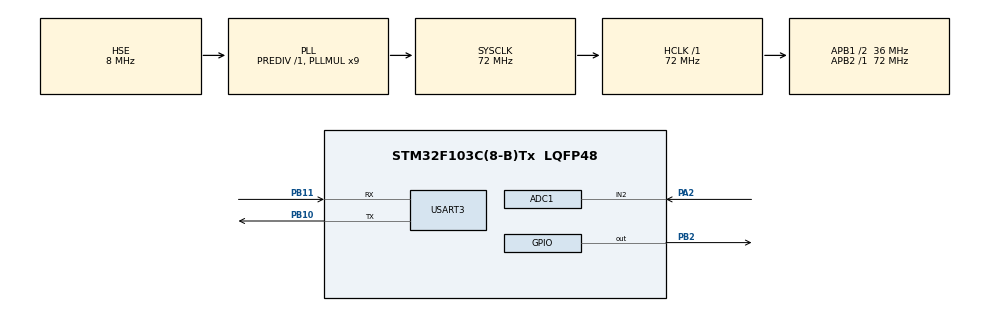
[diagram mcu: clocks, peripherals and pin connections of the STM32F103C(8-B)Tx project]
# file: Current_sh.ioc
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ADC1.Channel-0\#ChannelRegularConversion=ADC_CHANNEL_2
ADC1.ContinuousConvMode=ENABLE
ADC1.NbrOfConversionFlag=1
ADC1.Rank-0\#ChannelRegularConversion=1
ADC1.SamplingTime-0\#ChannelRegularConversion=ADC_SAMPLETIME_239CYCLES_5
ADC1.master=1
Dma.ADC1.0.Direction=DMA_PERIPH_TO_MEMORY
Dma.ADC1.0.Instance=DMA1_Channel1
Dma.ADC1.0.MemDataAlignment=DMA_MDATAALIGN_HALFWORD
Dma.ADC1.0.MemInc=DMA_MINC_ENABLE
Dma.ADC1.0.Mode=DMA_CIRCULAR
Dma.ADC1.0.PeriphDataAlignment=DMA_PDATAALIGN_HALFWORD
Dma.ADC1.0.PeriphInc=DMA_PINC_DISABLE
Dma.ADC1.0.Priority=DMA_PRIORITY_LOW
Dma.Request0=ADC1
Mcu.Family=STM32F1
Mcu.Name=STM32F103C(8-B)Tx
Mcu.Package=LQFP48
NVIC.PriorityGroup=NVIC_PRIORITYGROUP_4
NVIC.TIM1_UP_IRQn=true\:0\:0\:false\:false\:true\:true\:true\:true
NVIC.TIM2_IRQn=true\:0\:0\:false\:false\:true\:true\:true\:true
NVIC.TIM3_IRQn=true\:0\:0\:false\:false\:true\:true\:true\:true
NVIC.TIM4_IRQn=true\:0\:0\:false\:false\:true\:true\:true\:true
NVIC.USART3_IRQn=true\:0\:0\:false\:false\:true\:true\:true\:true
PA13.Mode=Serial_Wire
PA13.Signal=SYS_JTMS-SWDIO
PA14.Mode=Serial_Wire
PA14.Signal=SYS_JTCK-SWCLK
PA2.Signal=ADCx_IN2
PB10.Mode=Asynchronous
PB10.Signal=USART3_TX
PB11.Mode=Asynchronous
PB11.Signal=USART3_RX
PB2.Signal=GPIO_Output
PD0-OSC_IN.Mode=HSE-External-Oscillator
PD0-OSC_IN.Signal=RCC_OSC_IN
PD1-OSC_OUT.Mode=HSE-External-Oscillator
PD1-OSC_OUT.Signal=RCC_OSC_OUT
ProjectManager.HeapSize=0x200
ProjectManager.StackSize=0x400
ProjectManager.TargetToolchain=MDK-ARM V5.32
RCC.ADCPresc=RCC_ADCPCLK2_DIV6
RCC.AHBFreq_Value=72000000
RCC.APB1CLKDivider=RCC_HCLK_DIV2
RCC.APB1Freq_Value=36000000
RCC.APB1TimFreq_Value=72000000
RCC.APB2Freq_Value=72000000
RCC.APB2TimFreq_Value=72000000
RCC.HCLKFreq_Value=72000000
RCC.PLLMUL=RCC_PLL_MUL9
RCC.PLLSourceVirtual=RCC_PLLSOURCE_HSE
RCC.SYSCLKFreq_VALUE=72000000
RCC.SYSCLKSource=RCC_SYSCLKSOURCE_PLLCLK
RCC.USBFreq_Value=72000000
SH.ADCx_IN2.0=ADC1_IN2,IN2
USART3.VirtualMode=VM_ASYNC
VP_TIM1_VS_ClockSourceINT.Mode=Internal
VP_TIM2_VS_ClockSourceINT.Mode=Internal
VP_TIM3_VS_ClockSourceINT.Mode=Internal
VP_TIM4_VS_ClockSourceINT.Mode=Internal
board=custom

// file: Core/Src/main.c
/* USER CODE BEGIN Header */
/**
  ******************************************************************************
  * @file           : main.c
  * @brief          : Main program body
  ******************************************************************************
  * @attention
  *
  * Copyright (c) 2023 STMicroelectronics.
  * All rights reserved.
  *
  * This software is licensed under terms that can be found in the LICENSE file
  * in the root directory of this software component.
  * If no LICENSE file comes with this software, it is provided AS-IS.
  *
  ******************************************************************************
  */
/* USER CODE END Header */
#include "main.h"

ADC_HandleTypeDef hadc1;
DMA_HandleTypeDef hdma_adc1;

TIM_HandleTypeDef htim1;
TIM_HandleTypeDef htim2;
TIM_HandleTypeDef htim3;
TIM_HandleTypeDef htim4;

UART_HandleTypeDef huart3;

/* USER CODE BEGIN PV */
uint16_t adc, value, bank[30];

mb ch485;

//EEprom------------------

uint16_t VirtAddVarTab[NB_OF_VAR];
uint16_t  VarDataTab[NB_OF_VAR];
uint16_t VarValue = 0;
//-------------------------

/* USER CODE END PV */

void SystemClock_Config(void);
static void MX_GPIO_Init(void);
static void MX_DMA_Init(void);
static void MX_ADC1_Init(void);
static void MX_USART3_UART_Init(void);
static void MX_TIM1_Init(void);
static void MX_TIM2_Init(void);
static void MX_TIM3_Init(void);
static void MX_TIM4_Init(void);

int main(void)
{

  /* MCU Configuration--------------------------------------------------------*/

  /* Reset of all peripherals, Initializes the Flash interface and the Systick. */
  HAL_Init();

  /* Configure the system clock */
  SystemClock_Config();

  /* Initialize all configured peripherals */
  MX_GPIO_Init();
  MX_DMA_Init();
  MX_ADC1_Init();
  MX_USART3_UART_Init();
  MX_TIM1_Init();
  MX_TIM2_Init();
  MX_TIM3_Init();
  MX_TIM4_Init();
  /* USER CODE BEGIN 2 */

  HAL_FLASH_Unlock();

  /* EEPROM Init */
  EE_Init();

/* --- Store successively many values of the three variables in the EEPROM ---*/
  /* Store 0x1000 values of Variable1 in EEPROM */

EE_ReadVariable(1, &Rz);
EE_ReadVariable(2, &F);
EE_ReadVariable(3, &M);
EE_ReadVariable(4, &K);
EE_ReadVariable(5, &Kf);
EE_ReadVariable(6, &C);
EE_ReadVariable(7, &Adr);
EE_ReadVariable(8, &dV);
	HAL_FLASH_Lock();

/*
F=4; //[kHz] ADC freq
M=0; //Offset (middle line)
K=1000; //Measure factor K
Kf=4; //Filter factor
C=4; //[kHz] ADC freq
Adr=1; //Adress 485
*/

//-----------------Calibration-----------------
	//---------------------ADC-----------------

  ADC1->CR2|=8;

  HAL_Delay (1000);
  ADC1->CR2&=~8;
  ADC1->CR2|=4;

  HAL_Delay (1000);
	//-----------------OFF-Calibration-----------------
	//-----------------------ADC-----------------

	HAL_ADC_Start_DMA(&hadc1, (uint32_t*)&adc, 1);

if (F>1)	TIM2->ARR=72000/F;
else TIM2->ARR=65535;

	HAL_TIM_Base_Start_IT(&htim2);

mb_init(&ch485, Adr, 9000, 0);

  /* USER CODE END 2 */

  /* Infinite loop */
  /* USER CODE BEGIN WHILE */
  while (1)
  {
		if (Set>0)
		{
			HAL_FLASH_Unlock();

EE_WriteVariable	(1, Rz);
EE_WriteVariable	(2, F);
EE_WriteVariable	(3, M);
EE_WriteVariable	(4, K);
EE_WriteVariable	(5, Kf);
EE_WriteVariable	(6, C);
EE_WriteVariable	(7, Adr);
EE_WriteVariable	(8, dV);

	TIM2->ARR=72000/F;
  ch485.adress=Adr;
			Set=0;
	HAL_FLASH_Lock();

		}
    /* USER CODE END WHILE */

  }
}

void SystemClock_Config(void)
{
  RCC_OscInitTypeDef RCC_OscInitStruct = {0};
  RCC_ClkInitTypeDef RCC_ClkInitStruct = {0};
  RCC_PeriphCLKInitTypeDef PeriphClkInit = {0};

  /** Initializes the RCC Oscillators according to the specified parameters
  * in the RCC_OscInitTypeDef structure.
  */
  RCC_OscInitStruct.OscillatorType = RCC_OSCILLATORTYPE_HSE;
  RCC_OscInitStruct.HSEState = RCC_HSE_ON;
  RCC_OscInitStruct.HSEPredivValue = RCC_HSE_PREDIV_DIV1;
  RCC_OscInitStruct.HSIState = RCC_HSI_ON;
  RCC_OscInitStruct.PLL.PLLState = RCC_PLL_ON;
  RCC_OscInitStruct.PLL.PLLSource = RCC_PLLSOURCE_HSE;
  RCC_OscInitStruct.PLL.PLLMUL = RCC_PLL_MUL9;
  if (HAL_RCC_OscConfig(&RCC_OscInitStruct) != HAL_OK)
  {
    Error_Handler();
  }

  /** Initializes the CPU, AHB and APB buses clocks
  */
  RCC_ClkInitStruct.ClockType = RCC_CLOCKTYPE_HCLK|RCC_CLOCKTYPE_SYSCLK
                              |RCC_CLOCKTYPE_PCLK1|RCC_CLOCKTYPE_PCLK2;
  RCC_ClkInitStruct.SYSCLKSource = RCC_SYSCLKSOURCE_PLLCLK;
  RCC_ClkInitStruct.AHBCLKDivider = RCC_SYSCLK_DIV1;
  RCC_ClkInitStruct.APB1CLKDivider = RCC_HCLK_DIV2;
  RCC_ClkInitStruct.APB2CLKDivider = RCC_HCLK_DIV1;

  if (HAL_RCC_ClockConfig(&RCC_ClkInitStruct, FLASH_LATENCY_2) != HAL_OK)
  {
    Error_Handler();
  }
  PeriphClkInit.PeriphClockSelection = RCC_PERIPHCLK_ADC;
  PeriphClkInit.AdcClockSelection = RCC_ADCPCLK2_DIV6;
  if (HAL_RCCEx_PeriphCLKConfig(&PeriphClkInit) != HAL_OK)
  {
    Error_Handler();
  }
}

static void MX_ADC1_Init(void)
{

  ADC_ChannelConfTypeDef sConfig = {0};

  /** Common config
  */
  hadc1.Instance = ADC1;
  hadc1.Init.ScanConvMode = ADC_SCAN_DISABLE;
  hadc1.Init.ContinuousConvMode = ENABLE;
  hadc1.Init.DiscontinuousConvMode = DISABLE;
  hadc1.Init.ExternalTrigConv = ADC_SOFTWARE_START;
  hadc1.Init.DataAlign = ADC_DATAALIGN_RIGHT;
  hadc1.Init.NbrOfConversion = 1;
  if (HAL_ADC_Init(&hadc1) != HAL_OK)
  {
    Error_Handler();
  }

  /** Configure Regular Channel
  */
  sConfig.Channel = ADC_CHANNEL_2;
  sConfig.Rank = ADC_REGULAR_RANK_1;
  sConfig.SamplingTime = ADC_SAMPLETIME_239CYCLES_5;
  if (HAL_ADC_ConfigChannel(&hadc1, &sConfig) != HAL_OK)
  {
    Error_Handler();
  }

}

static void MX_TIM1_Init(void)
{

  TIM_ClockConfigTypeDef sClockSourceConfig = {0};
  TIM_MasterConfigTypeDef sMasterConfig = {0};

  htim1.Instance = TIM1;
  htim1.Init.Prescaler = 0;
  htim1.Init.CounterMode = TIM_COUNTERMODE_UP;
  htim1.Init.Period = 65535;
  htim1.Init.ClockDivision = TIM_CLOCKDIVISION_DIV1;
  htim1.Init.RepetitionCounter = 0;
  htim1.Init.AutoReloadPreload = TIM_AUTORELOAD_PRELOAD_DISABLE;
  if (HAL_TIM_Base_Init(&htim1) != HAL_OK)
  {
    Error_Handler();
  }
  sClockSourceConfig.ClockSource = TIM_CLOCKSOURCE_INTERNAL;
  if (HAL_TIM_ConfigClockSource(&htim1, &sClockSourceConfig) != HAL_OK)
  {
    Error_Handler();
  }
  sMasterConfig.MasterOutputTrigger = TIM_TRGO_RESET;
  sMasterConfig.MasterSlaveMode = TIM_MASTERSLAVEMODE_DISABLE;
  if (HAL_TIMEx_MasterConfigSynchronization(&htim1, &sMasterConfig) != HAL_OK)
  {
    Error_Handler();
  }

}

static void MX_TIM2_Init(void)
{

  TIM_ClockConfigTypeDef sClockSourceConfig = {0};
  TIM_MasterConfigTypeDef sMasterConfig = {0};

  htim2.Instance = TIM2;
  htim2.Init.Prescaler = 0;
  htim2.Init.CounterMode = TIM_COUNTERMODE_UP;
  htim2.Init.Period = 65535;
  htim2.Init.ClockDivision = TIM_CLOCKDIVISION_DIV1;
  htim2.Init.AutoReloadPreload = TIM_AUTORELOAD_PRELOAD_DISABLE;
  if (HAL_TIM_Base_Init(&htim2) != HAL_OK)
  {
    Error_Handler();
  }
  sClockSourceConfig.ClockSource = TIM_CLOCKSOURCE_INTERNAL;
  if (HAL_TIM_ConfigClockSource(&htim2, &sClockSourceConfig) != HAL_OK)
  {
    Error_Handler();
  }
  sMasterConfig.MasterOutputTrigger = TIM_TRGO_RESET;
  sMasterConfig.MasterSlaveMode = TIM_MASTERSLAVEMODE_DISABLE;
  if (HAL_TIMEx_MasterConfigSynchronization(&htim2, &sMasterConfig) != HAL_OK)
  {
    Error_Handler();
  }

}

static void MX_TIM3_Init(void)
{

  TIM_ClockConfigTypeDef sClockSourceConfig = {0};
  TIM_MasterConfigTypeDef sMasterConfig = {0};

  htim3.Instance = TIM3;
  htim3.Init.Prescaler = 0;
  htim3.Init.CounterMode = TIM_COUNTERMODE_UP;
  htim3.Init.Period = 65535;
  htim3.Init.ClockDivision = TIM_CLOCKDIVISION_DIV1;
  htim3.Init.AutoReloadPreload = TIM_AUTORELOAD_PRELOAD_DISABLE;
  if (HAL_TIM_Base_Init(&htim3) != HAL_OK)
  {
    Error_Handler();
  }
  sClockSourceConfig.ClockSource = TIM_CLOCKSOURCE_INTERNAL;
  if (HAL_TIM_ConfigClockSource(&htim3, &sClockSourceConfig) != HAL_OK)
  {
    Error_Handler();
  }
  sMasterConfig.MasterOutputTrigger = TIM_TRGO_RESET;
  sMasterConfig.MasterSlaveMode = TIM_MASTERSLAVEMODE_DISABLE;
  if (HAL_TIMEx_MasterConfigSynchronization(&htim3, &sMasterConfig) != HAL_OK)
  {
    Error_Handler();
  }

}

static void MX_TIM4_Init(void)
{

  TIM_ClockConfigTypeDef sClockSourceConfig = {0};
  TIM_MasterConfigTypeDef sMasterConfig = {0};

  htim4.Instance = TIM4;
  htim4.Init.Prescaler = 0;
  htim4.Init.CounterMode = TIM_COUNTERMODE_UP;
  htim4.Init.Period = 65535;
  htim4.Init.ClockDivision = TIM_CLOCKDIVISION_DIV1;
  htim4.Init.AutoReloadPreload = TIM_AUTORELOAD_PRELOAD_DISABLE;
  if (HAL_TIM_Base_Init(&htim4) != HAL_OK)
  {
    Error_Handler();
  }
  sClockSourceConfig.ClockSource = TIM_CLOCKSOURCE_INTERNAL;
  if (HAL_TIM_ConfigClockSource(&htim4, &sClockSourceConfig) != HAL_OK)
  {
    Error_Handler();
  }
  sMasterConfig.MasterOutputTrigger = TIM_TRGO_RESET;
  sMasterConfig.MasterSlaveMode = TIM_MASTERSLAVEMODE_DISABLE;
  if (HAL_TIMEx_MasterConfigSynchronization(&htim4, &sMasterConfig) != HAL_OK)
  {
    Error_Handler();
  }

}

static void MX_USART3_UART_Init(void)
{

  huart3.Instance = USART3;
  huart3.Init.BaudRate = 115200;
  huart3.Init.WordLength = UART_WORDLENGTH_8B;
  huart3.Init.StopBits = UART_STOPBITS_1;
  huart3.Init.Parity = UART_PARITY_NONE;
  huart3.Init.Mode = UART_MODE_TX_RX;
  huart3.Init.HwFlowCtl = UART_HWCONTROL_NONE;
  huart3.Init.OverSampling = UART_OVERSAMPLING_16;
  if (HAL_UART_Init(&huart3) != HAL_OK)
  {
    Error_Handler();
  }

}

static void MX_DMA_Init(void)
{

  /* DMA controller clock enable */
  __HAL_RCC_DMA1_CLK_ENABLE();

}

static void MX_GPIO_Init(void)
{
  GPIO_InitTypeDef GPIO_InitStruct = {0};

  /* GPIO Ports Clock Enable */
  __HAL_RCC_GPIOD_CLK_ENABLE();
  __HAL_RCC_GPIOA_CLK_ENABLE();
  __HAL_RCC_GPIOB_CLK_ENABLE();

  /*Configure GPIO pin Output Level */
  HAL_GPIO_WritePin(GPIOB, GPIO_PIN_2, GPIO_PIN_RESET);

  /*Configure GPIO pin : PB2 */
  GPIO_InitStruct.Pin = GPIO_PIN_2;
  GPIO_InitStruct.Mode = GPIO_MODE_OUTPUT_PP;
  GPIO_InitStruct.Pull = GPIO_NOPULL;
  GPIO_InitStruct.Speed = GPIO_SPEED_FREQ_LOW;
  HAL_GPIO_Init(GPIOB, &GPIO_InitStruct);

}

void Error_Handler(void)
{
  __disable_irq();
  while (1)
  {
  }
}
